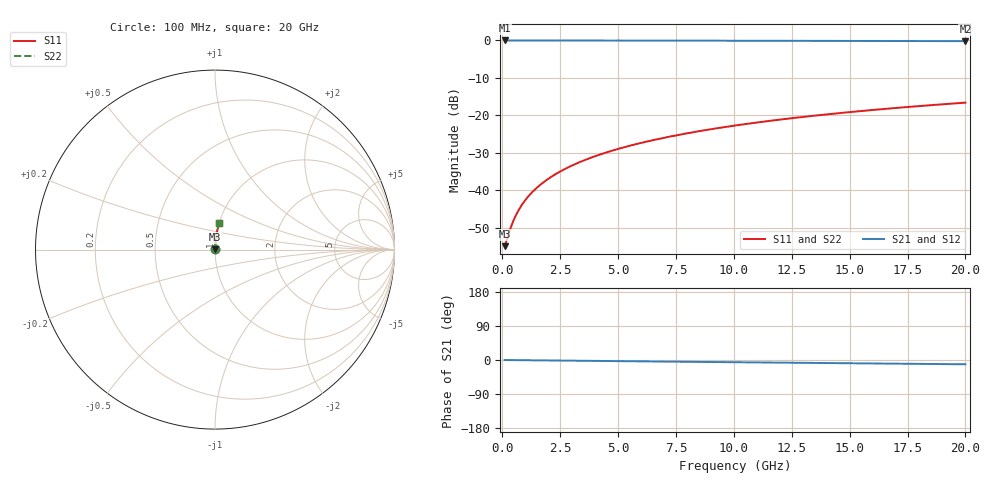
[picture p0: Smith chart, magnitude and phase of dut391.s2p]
! Touchstone file exported from HFSS 2024.1.0
!  File:  C:/UserFiles/LocalFiles/RDL_TSV_Batchsim/temp_RDL_bottom_391_1779614359.aedt
!  Generated:  05:22:00 PM May 24, 2026
!  Design:  RDL_bottom
!  Project:  temp_RDL_bottom_391_1779614359
!  Setup:  Setup1
!  Solution:  Sweep
! Variables:
!  dtsv = 10.80580581um
!  hbump = 3um
!  htsv = 61.84um
!  ldown = 113.7um
!  lrdl = 100um
!  p = 40
!  p1 = 42.32um
!  rhole = 1um
!  t = 450um
!  tdown = 2.11um
!  trdl = 3.915915916um
!  wdown = 15um
!  wrdl = 20um
# GHz S MA R 50.000000
! Terminal data exported
! Port[1] = RDL1_T1
! Port[2] = RDL1_T2
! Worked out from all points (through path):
!   200 points, 100 MHz to 20 GHz, reference 50 ohm
!   highest |S21| = -0.01 dB at 100 MHz (marker M1); lowest = -0.2 dB at 20 GHz (marker M2)
!   group delay of S21, straight-line fit = 1.57 ps
!   lowest |S11| = -54.9 dB at 100 MHz (marker M3), VSWR 1.00, Z = 50.2 + j0.0744 ohm
!   |S11| at or under -10 dB: start of sweep to end of sweep
!   |S22| runs from -54.9 to -16.6 dB; largest |S21 - S12| = 2.4e-15
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0.1  0.00179 24.5  0.9984 -0.1  0.9984 -0.1  0.00179 24.5
! Gamma 0 0 0 0
! Port Impedance 50 0 50 0
0.4  0.003391 60.1  0.9983 -0.3  0.9983 -0.3  0.003391 60.1
0.5  0.004043 64.8  0.9983 -0.3  0.9983 -0.3  0.004042 64.8
0.6  0.004709 68.2  0.9982 -0.4  0.9982 -0.4  0.004709 68.2
0.7  0.005382 70.7  0.9982 -0.4  0.9982 -0.4  0.005382 70.7
0.9  0.006737 74.2  0.9981 -0.6  0.9981 -0.6  0.006737 74.2
1.2  0.008782 77.6  0.998 -0.7  0.998 -0.7  0.008782 77.6
1.4  0.01015 79.1  0.9979 -0.9  0.9979 -0.9  0.01015 79.1
1.7  0.01221 80.7  0.9978 -1.0  0.9978 -1.0  0.01221 80.7
2.2  0.01568 82.6  0.9975 -1.3  0.9975 -1.3  0.01568 82.6
2.8  0.01987 83.9  0.9972 -1.7  0.9972 -1.7  0.01987 83.9
3.5  0.02482 84.9  0.9968 -2.1  0.9968 -2.1  0.02482 84.9
4.2  0.02981 85.5  0.9963 -2.5  0.9963 -2.5  0.02981 85.5
5  0.03556 85.9  0.9956 -3.0  0.9956 -3.0  0.03556 85.9
5.9  0.04211 86.1  0.9948 -3.5  0.9948 -3.5  0.04211 86.1
6.8  0.04872 86.1  0.9939 -4.1  0.9939 -4.1  0.04872 86.1
8.3  0.05986 85.9  0.9923 -4.9  0.9923 -4.9  0.05986 85.9
10.1  0.07337 85.4  0.9903 -5.9  0.9903 -5.9  0.07337 85.4
11.7  0.08544 84.7  0.9884 -6.8  0.9884 -6.8  0.08544 84.7
13.4  0.09827 83.9  0.9863 -7.8  0.9863 -7.8  0.09828 83.9
16.7  0.1231 82.1  0.9819 -9.5  0.9819 -9.5  0.1231 82.1
20  0.1476 80.3  0.9772 -11.3  0.9772 -11.3  0.1476 80.3
